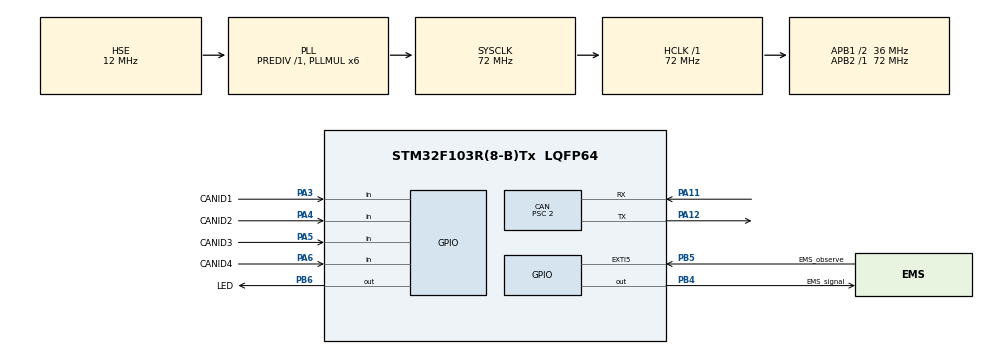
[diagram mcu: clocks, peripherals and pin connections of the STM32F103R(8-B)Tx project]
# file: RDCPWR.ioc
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CAN.BS1=CAN_BS1_16TQ
CAN.CalculateBaudRate=1000000
CAN.CalculateTimeBit=1000
CAN.CalculateTimeQuantum=55.55555555555556
CAN.Prescaler=2
Mcu.Family=STM32F1
Mcu.Name=STM32F103R(8-B)Tx
Mcu.Package=LQFP64
NVIC.EXTI9_5_IRQn=true\:0\:0\:false\:false\:true\:true\:true\:true
NVIC.PriorityGroup=NVIC_PRIORITYGROUP_4
NVIC.USB_LP_CAN1_RX0_IRQn=true\:0\:0\:false\:false\:true\:true\:true\:true
PA11.Mode=CAN_Activate
PA11.Signal=CAN_RX
PA12.Mode=CAN_Activate
PA12.Signal=CAN_TX
PA13.Mode=Trace_Asynchronous_SW
PA13.Signal=SYS_JTMS-SWDIO
PA14.Mode=Trace_Asynchronous_SW
PA14.Signal=SYS_JTCK-SWCLK
PA3.GPIO_Label=CANID1
PA3.Signal=GPIO_Input
PA4.GPIO_Label=CANID2
PA4.Signal=GPIO_Input
PA5.GPIO_Label=CANID3
PA5.Signal=GPIO_Input
PA6.GPIO_Label=CANID4
PA6.Signal=GPIO_Input
PB3.Mode=Trace_Asynchronous_SW
PB3.Signal=SYS_JTDO-TRACESWO
PB4.GPIO_Label=EMS_signal
PB4.Signal=GPIO_Output
PB5.GPIO_Label=EMS_observe
PB5.GPIO_ModeDefaultEXTI=GPIO_MODE_IT_RISING_FALLING
PB5.Signal=GPXTI5
PB6.GPIO_Label=LED
PB6.Signal=GPIO_Output
PD0-OSC_IN.Mode=HSE-External-Oscillator
PD0-OSC_IN.Signal=RCC_OSC_IN
PD1-OSC_OUT.Mode=HSE-External-Oscillator
PD1-OSC_OUT.Signal=RCC_OSC_OUT
ProjectManager.HeapSize=0x200
ProjectManager.StackSize=0x400
ProjectManager.TargetToolchain=STM32CubeIDE
RCC.AHBFreq_Value=72000000
RCC.APB1CLKDivider=RCC_HCLK_DIV2
RCC.APB1Freq_Value=36000000
RCC.APB1TimFreq_Value=72000000
RCC.APB2Freq_Value=72000000
RCC.APB2TimFreq_Value=72000000
RCC.HCLKFreq_Value=72000000
RCC.HSE_VALUE=12000000
RCC.PLLMUL=RCC_PLL_MUL6
RCC.PLLSourceVirtual=RCC_PLLSOURCE_HSE
RCC.SYSCLKFreq_VALUE=72000000
RCC.SYSCLKSource=RCC_SYSCLKSOURCE_PLLCLK
RCC.USBFreq_Value=72000000
board=custom

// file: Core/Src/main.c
/* USER CODE BEGIN Header */
/**
  ******************************************************************************
  * @file           : main.c
  * @brief          : Main program body
  ******************************************************************************
  * @attention
  *
  * Copyright (c) 2024 STMicroelectronics.
  * All rights reserved.
  *
  * This software is licensed under terms that can be found in the LICENSE file
  * in the root directory of this software component.
  * If no LICENSE file comes with this software, it is provided AS-IS.
  *
  ******************************************************************************
  */
/* USER CODE END Header */
#include "main.h"
#include "can.h"
#include "gpio.h"

/* USER CODE BEGIN Includes */
#include <stdio.h>
/* USER CODE END Includes */

void SystemClock_Config(void);

int main(void)
{

  /* MCU Configuration--------------------------------------------------------*/

  /* Reset of all peripherals, Initializes the Flash interface and the Systick. */
  HAL_Init();

  /* Configure the system clock */
  SystemClock_Config();

  /* Initialize all configured peripherals */
  MX_GPIO_Init();
  MX_CAN_Init();
  /* USER CODE BEGIN 2 */
  int read = 0,
      readid1 = 0,
      readid2 = 0,
      readid3 = 0,
      readid4 = 0;
  /* USER CODE END 2 */

  /* Infinite loop */
  /* USER CODE BEGIN WHILE */
  while (1)
  {
	  read = HAL_GPIO_ReadPin(EMS_observe_GPIO_Port, EMS_observe_Pin);
	  printf("read EMS_MODE:%d\n\r",read);
	  HAL_GPIO_WritePin(EMS_signal_GPIO_Port, EMS_signal_Pin, GPIO_PIN_SET);
	  HAL_GPIO_WritePin(LED_GPIO_Port, LED_Pin, GPIO_PIN_SET);

	  readid1 = HAL_GPIO_ReadPin(CAN_ID1_GPIO_Port, CAN_ID1_Pin);
	  readid2 = HAL_GPIO_ReadPin(CAN_ID2_GPIO_Port, CAN_ID2_Pin);
	  readid3 = HAL_GPIO_ReadPin(CAN_ID3_GPIO_Port, CAN_ID3_Pin);
	  readid4 = HAL_GPIO_ReadPin(CAN_ID4_GPIO_Port, CAN_ID4_Pin);
	  printf("CANID:%d%d%d%d\n\r",readid1, readid2, readid3, readid4);
	  HAL_Delay(1000);

	  read = HAL_GPIO_ReadPin(EMS_observe_GPIO_Port, EMS_observe_Pin);
	  printf("read EMS_MODE:%d\n\r",read);
	  HAL_GPIO_WritePin(EMS_signal_GPIO_Port, EMS_signal_Pin, GPIO_PIN_RESET);
	  HAL_GPIO_WritePin(LED_GPIO_Port, LED_Pin, GPIO_PIN_RESET);

	  readid1 = HAL_GPIO_ReadPin(CAN_ID1_GPIO_Port, CAN_ID1_Pin);
	  readid2 = HAL_GPIO_ReadPin(CAN_ID2_GPIO_Port, CAN_ID2_Pin);
	  readid3 = HAL_GPIO_ReadPin(CAN_ID3_GPIO_Port, CAN_ID3_Pin);
	  readid4 = HAL_GPIO_ReadPin(CAN_ID4_GPIO_Port, CAN_ID4_Pin);
	  printf("CANID:%d%d%d%d\n\r",readid1, readid2, readid3, readid4);
	  HAL_Delay(1000);

    /* USER CODE END WHILE */

  }
}

void SystemClock_Config(void)
{
  RCC_OscInitTypeDef RCC_OscInitStruct = {0};
  RCC_ClkInitTypeDef RCC_ClkInitStruct = {0};

  /** Initializes the RCC Oscillators according to the specified parameters
  * in the RCC_OscInitTypeDef structure.
  */
  RCC_OscInitStruct.OscillatorType = RCC_OSCILLATORTYPE_HSE;
  RCC_OscInitStruct.HSEState = RCC_HSE_ON;
  RCC_OscInitStruct.HSEPredivValue = RCC_HSE_PREDIV_DIV1;
  RCC_OscInitStruct.HSIState = RCC_HSI_ON;
  RCC_OscInitStruct.PLL.PLLState = RCC_PLL_ON;
  RCC_OscInitStruct.PLL.PLLSource = RCC_PLLSOURCE_HSE;
  RCC_OscInitStruct.PLL.PLLMUL = RCC_PLL_MUL6;
  if (HAL_RCC_OscConfig(&RCC_OscInitStruct) != HAL_OK)
  {
    Error_Handler();
  }

  /** Initializes the CPU, AHB and APB buses clocks
  */
  RCC_ClkInitStruct.ClockType = RCC_CLOCKTYPE_HCLK|RCC_CLOCKTYPE_SYSCLK
                              |RCC_CLOCKTYPE_PCLK1|RCC_CLOCKTYPE_PCLK2;
  RCC_ClkInitStruct.SYSCLKSource = RCC_SYSCLKSOURCE_PLLCLK;
  RCC_ClkInitStruct.AHBCLKDivider = RCC_SYSCLK_DIV1;
  RCC_ClkInitStruct.APB1CLKDivider = RCC_HCLK_DIV2;
  RCC_ClkInitStruct.APB2CLKDivider = RCC_HCLK_DIV1;

  if (HAL_RCC_ClockConfig(&RCC_ClkInitStruct, FLASH_LATENCY_2) != HAL_OK)
  {
    Error_Handler();
  }
}

/* USER CODE BEGIN 4 */
int _write(int file, char *ptr, int len)
{
  int DataIdx;
  for(DataIdx=0; DataIdx<len; DataIdx++)
  {
    ITM_SendChar(*ptr++);
  }
  return len;
}
/* USER CODE END 4 */

void Error_Handler(void)
{
  __disable_irq();
  while (1)
  {
  }
}
